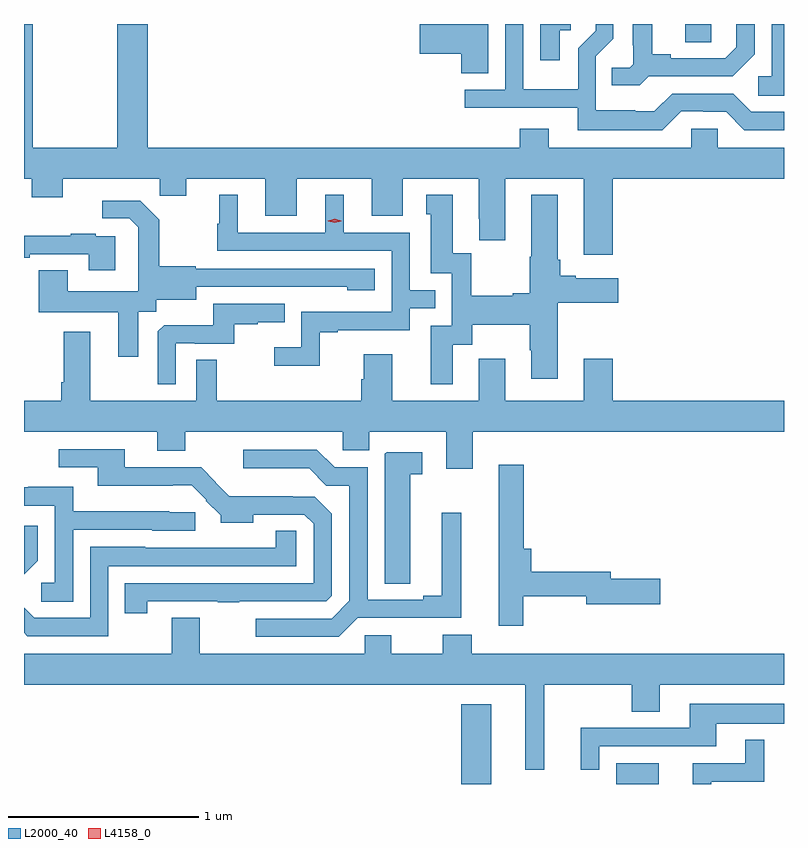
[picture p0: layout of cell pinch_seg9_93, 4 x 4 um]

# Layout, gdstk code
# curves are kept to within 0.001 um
import gdstk
lib = gdstk.Library(unit=1e-6, precision=1e-09)
def R(c, l, rs):  # rectangles x0, y0, x1, y1
    for r in rs: c.add(gdstk.rectangle(r[:2], r[2:], *l))
def P(c, l, *ps):  # polygons
    for p in ps: c.add(gdstk.Polygon(p, *l))
L2000_40 = (2000, 40)
L4158_0 = (4158, 0)

pinch_seg9_93 = lib.new_cell('pinch_seg9_93')
R(pinch_seg9_93, L2000_40, [(1056.902,1187.906,1057.06,1188.325), (1057.718,1187.906,1057.942,1188.016), (1058.081,1191.811,1058.22,1191.906)])
P(pinch_seg9_93, L2000_40, [(1058.602,1191.906),(1058.538,1191.906),(1058.538,1191.63),(1058.466,1191.63),(1058.466,1191.529),(1058.602,1191.529)],
  [(1057.045,1191.906),(1056.684,1191.906),(1056.684,1191.749),(1056.902,1191.749),(1056.902,1191.646),(1057.045,1191.646)],
  [(1057.89,1191.63),(1058.332,1191.63),(1058.448,1191.746),(1058.448,1191.906),(1058.351,1191.906),(1058.351,1191.783),(1058.294,1191.726),(1058.005,1191.726),(1058.005,1191.746),(1057.909,1191.746),(1057.909,1191.906),(1057.805,1191.906),(1057.805,1191.793),(1057.809,1191.793),(1057.809,1191.693),(1057.791,1191.675),(1057.696,1191.675),(1057.696,1191.583),(1057.842,1191.583)],
  [(1057.423,1191.873),(1057.48,1191.873),(1057.48,1191.906),(1057.319,1191.906),(1057.319,1191.714),(1057.423,1191.714)],
  [(1058.061,1191.447),(1058.178,1191.447),(1058.178,1191.444),(1058.298,1191.444),(1058.394,1191.348),(1058.602,1191.348),(1058.602,1191.444),(1058.43,1191.444),(1058.334,1191.54),(1058.013,1191.54),(1057.92,1191.447),(1057.82,1191.447),(1057.82,1191.451),(1057.611,1191.451),(1057.611,1191.735),(1057.704,1191.828),(1057.704,1191.906),(1057.61,1191.906),(1057.61,1191.87),(1057.518,1191.778),(1057.518,1191.562),(1057.23,1191.562),(1057.23,1191.906),(1057.134,1191.906),(1057.134,1191.561),(1056.921,1191.561),(1056.921,1191.465),(1057.517,1191.465),(1057.517,1191.347),(1057.961,1191.347)],
  [(1057.7,1191.092),(1058.602,1191.092),(1058.602,1191.256),(1058.253,1191.256),(1058.253,1191.354),(1058.115,1191.354),(1058.115,1191.256),(1057.363,1191.256),(1057.363,1191.355),(1057.211,1191.355),(1057.211,1191.256),(1055.252,1191.256),(1055.252,1191.906),(1055.092,1191.906),(1055.092,1191.256),(1054.647,1191.256),(1054.647,1191.906),(1054.602,1191.906),(1054.602,1191.092),(1054.643,1191.092),(1054.643,1190.993),(1054.807,1190.993),(1054.807,1191.092),(1055.317,1191.092),(1055.317,1191.002),(1055.455,1191.002),(1055.455,1191.092),(1055.873,1191.092),(1055.873,1190.898),(1056.037,1190.898),(1056.037,1191.092),(1056.431,1191.092),(1056.431,1190.898),(1056.595,1190.898),(1056.595,1191.092),(1056.995,1191.092),(1056.995,1190.881),(1056.998,1190.881),(1056.998,1190.769),(1057.135,1190.769),(1057.135,1191.092),(1057.547,1191.092),(1057.547,1190.691),(1057.7,1190.691)],
  [(1056.859,1190.218),(1056.961,1190.218),(1056.961,1190.324),(1057.264,1190.324),(1057.264,1190.19),(1057.271,1190.19),(1057.271,1190.04),(1057.411,1190.04),(1057.411,1190.44),(1057.729,1190.44),(1057.729,1190.569),(1057.507,1190.569),(1057.507,1190.582),(1057.424,1190.582),(1057.424,1190.665),(1057.411,1190.665),(1057.411,1191.007),(1057.271,1191.007),(1057.271,1190.681),(1057.264,1190.681),(1057.264,1190.489),(1057.175,1190.489),(1057.175,1190.476),(1056.957,1190.476),(1056.957,1190.699),(1056.859,1190.699),(1056.859,1191.007),(1056.719,1191.007),(1056.719,1190.904),(1056.743,1190.904),(1056.743,1190.595),(1056.852,1190.595),(1056.852,1190.319),(1056.743,1190.319),(1056.743,1190.01),(1056.859,1190.01)],
  [(1056.159,1190.283),(1056.253,1190.283),(1056.253,1190.295),(1056.633,1190.295),(1056.633,1190.409),(1056.767,1190.409),(1056.767,1190.505),(1056.633,1190.505),(1056.633,1190.808),(1056.286,1190.808),(1056.286,1191.007),(1056.188,1191.007),(1056.188,1190.808),(1055.728,1190.808),(1055.728,1191.007),(1055.63,1191.007),(1055.63,1190.856),(1055.619,1190.856),(1055.619,1190.712),(1056.537,1190.712),(1056.537,1190.391),(1056.06,1190.391),(1056.06,1190.206),(1055.919,1190.206),(1055.919,1190.108),(1056.159,1190.108)],
  [(1055.203,1190.392),(1055.298,1190.392),(1055.298,1190.456),(1055.509,1190.456),(1055.509,1190.523),(1056.303,1190.522),(1056.303,1190.504),(1056.448,1190.504),(1056.448,1190.619),(1055.505,1190.619),(1055.505,1190.632),(1055.313,1190.632),(1055.313,1190.877),(1055.213,1190.977),(1055.013,1190.977),(1055.013,1190.883),(1055.157,1190.883),(1055.204,1190.836),(1055.204,1190.741),(1055.202,1190.741),(1055.202,1190.5),(1054.831,1190.5),(1054.831,1190.609),(1054.679,1190.609),(1054.679,1190.39),(1055.099,1190.39),(1055.099,1190.154),(1055.203,1190.154)],
  [(1055.083,1190.79),(1054.979,1190.79),(1054.979,1190.803),(1054.847,1190.803),(1054.847,1190.792),(1054.602,1190.792),(1054.602,1190.676),(1054.633,1190.676),(1054.633,1190.694),(1054.943,1190.694),(1054.943,1190.61),(1055.083,1190.61)],
  [(1055.4,1190.226),(1055.5,1190.226),(1055.5,1190.223),(1055.708,1190.223),(1055.708,1190.325),(1055.831,1190.325),(1055.831,1190.336),(1055.975,1190.336),(1055.975,1190.433),(1055.598,1190.433),(1055.598,1190.321),(1055.339,1190.321),(1055.307,1190.289),(1055.307,1190.009),(1055.4,1190.009)],
  [(1056.389,1190.167),(1056.389,1190.037),(1056.377,1190.037),(1056.377,1189.924),(1055.617,1189.924),(1055.617,1190.138),(1055.508,1190.138),(1055.508,1189.924),(1054.951,1189.924),(1054.951,1190.287),(1054.811,1190.287),(1054.811,1190.02),(1054.799,1190.02),(1054.799,1189.924),(1054.602,1189.924),(1054.602,1189.76),(1055.303,1189.76),(1055.303,1189.661),(1055.451,1189.661),(1055.451,1189.76),(1056.279,1189.76),(1056.279,1189.662),(1056.418,1189.662),(1056.418,1189.76),(1056.824,1189.76),(1056.824,1189.566),(1056.964,1189.566),(1056.964,1189.76),(1058.602,1189.76),(1058.602,1189.924),(1057.7,1189.924),(1057.7,1190.143),(1057.547,1190.143),(1057.547,1189.924),(1057.135,1189.924),(1057.135,1190.143),(1056.995,1190.143),(1056.995,1189.924),(1056.541,1189.924),(1056.541,1190.167)],
  [(1055.25,1188.867),(1055.623,1188.867),(1055.623,1188.862),(1055.735,1188.862),(1055.735,1188.867),(1056.192,1188.867),(1056.222,1188.897),(1056.222,1189.329),(1056.133,1189.418),(1056.017,1189.418),(1056.017,1189.42),(1055.683,1189.42),(1055.609,1189.493),(1055.611,1189.495),(1055.535,1189.572),(1055.131,1189.572),(1055.131,1189.668),(1054.785,1189.668),(1054.785,1189.572),(1054.991,1189.572),(1054.991,1189.475),(1055.384,1189.475),(1055.384,1189.478),(1055.486,1189.478),(1055.562,1189.401),(1055.559,1189.398),(1055.638,1189.32),(1055.638,1189.28),(1055.809,1189.28),(1055.809,1189.323),(1056.078,1189.323),(1056.126,1189.275),(1056.126,1188.963),(1055.131,1188.963),(1055.131,1188.804),(1055.25,1188.804)],
  [(1056.358,1188.78),(1056.904,1188.78),(1056.904,1189.333),(1056.8,1189.333),(1056.8,1188.896),(1056.704,1188.896),(1056.704,1188.876),(1056.411,1188.876),(1056.411,1189.572),(1056.237,1189.572),(1056.144,1189.665),(1055.757,1189.665),(1055.757,1189.568),(1056.103,1189.568),(1056.194,1189.477),(1056.315,1189.477),(1056.315,1188.87),(1056.222,1188.777),(1055.823,1188.777),(1055.823,1188.681),(1056.259,1188.681)],
  [(1056.634,1189.537),(1056.697,1189.537),(1056.697,1189.653),(1056.51,1189.653),(1056.5,1189.643),(1056.5,1188.961),(1056.634,1188.961)],
  [(1057.23,1188.894),(1057.562,1188.894),(1057.562,1188.851),(1057.951,1188.851),(1057.951,1188.986),(1057.69,1188.986),(1057.69,1189.022),(1057.271,1189.022),(1057.271,1189.144),(1057.232,1189.144),(1057.232,1189.585),(1057.1,1189.585),(1057.1,1188.738),(1057.23,1188.738)],
  [(1054.86,1189.245),(1055.277,1189.245),(1055.277,1189.239),(1055.502,1189.239),(1055.502,1189.335),(1055.367,1189.335),(1055.367,1189.342),(1054.861,1189.342),(1054.861,1189.471),(1054.625,1189.471),(1054.625,1189.467),(1054.602,1189.467),(1054.602,1189.371),(1054.764,1189.371),(1054.764,1188.966),(1054.692,1188.966),(1054.692,1188.865),(1054.86,1188.865)],
  [(1054.674,1189.082),(1054.674,1189.264),(1054.602,1189.264),(1054.602,1189.01)],
  [(1055.046,1189.053),(1056.036,1189.053),(1056.036,1189.238),(1055.928,1189.238),(1055.928,1189.15),(1055.241,1189.149),(1055.241,1189.156),(1054.95,1189.156),(1054.95,1188.78),(1054.656,1188.78),(1054.602,1188.834),(1054.602,1188.702),(1054.62,1188.684),(1055.046,1188.684)],
  [(1057.34,1188.428),(1057.801,1188.428),(1057.801,1188.286),(1057.948,1188.286),(1057.948,1188.428),(1058.602,1188.428),(1058.602,1188.592),(1056.959,1188.592),(1056.959,1188.691),(1056.806,1188.691),(1056.806,1188.592),(1056.535,1188.592),(1056.535,1188.69),(1056.396,1188.69),(1056.396,1188.592),(1055.527,1188.592),(1055.527,1188.782),(1055.38,1188.782),(1055.38,1188.592),(1054.602,1188.592),(1054.602,1188.428),(1057.241,1188.428),(1057.241,1187.982),(1057.34,1187.982)],
  [(1057.629,1188.105),(1058.245,1188.105),(1058.245,1188.224),(1058.602,1188.224),(1058.602,1188.328),(1058.105,1188.328),(1058.105,1188.201),(1057.532,1188.201),(1057.532,1187.982),(1057.629,1187.982)],
  [(1058.22,1187.919),(1058.497,1187.919),(1058.497,1188.139),(1058.399,1188.139),(1058.399,1188.015),(1058.123,1188.015),(1058.123,1187.906),(1058.22,1187.906)])
P(pinch_seg9_93, L4158_0, [(1056.237,1190.86),(1056.202,1190.869),(1056.201,1190.87),(1056.202,1190.87),(1056.237,1190.88),(1056.272,1190.87),(1056.273,1190.87),(1056.272,1190.869)])

lib.write_gds('pinch_seg9_93.gds')
